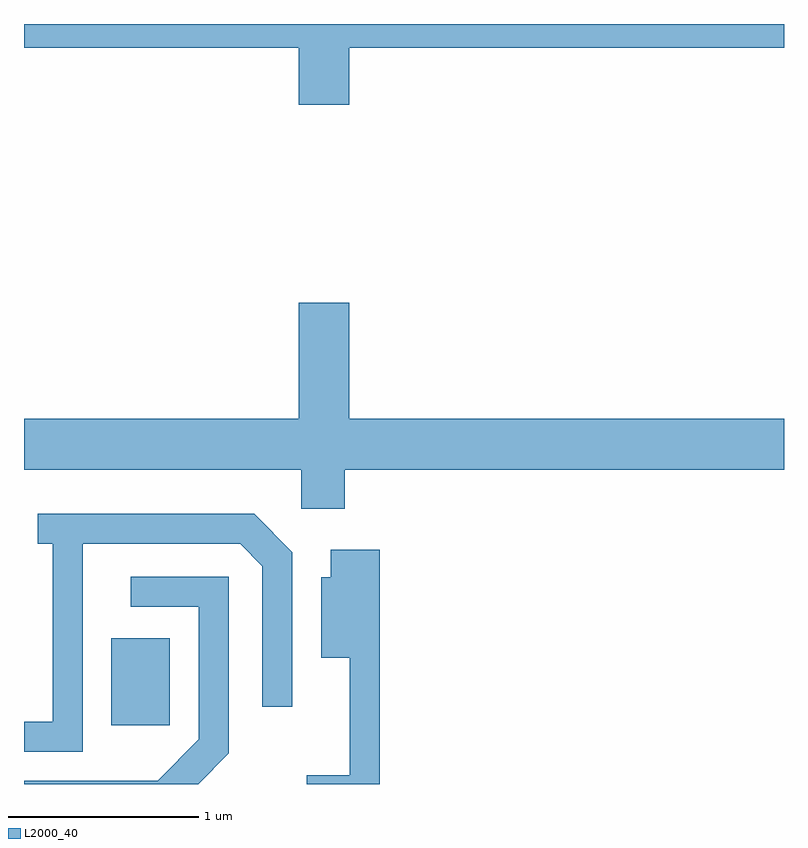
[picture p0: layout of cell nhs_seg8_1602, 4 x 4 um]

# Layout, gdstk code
import gdstk
lib = gdstk.Library(unit=1e-6, precision=1e-09)
def R(c, l, rs):  # rectangles x0, y0, x1, y1
    for r in rs: c.add(gdstk.rectangle(r[:2], r[2:], *l))
def P(c, l, *ps):  # polygons
    for p in ps: c.add(gdstk.Polygon(p, *l))
L2000_40 = (2000, 40)

nhs_seg8_1602 = lib.new_cell('nhs_seg8_1602')
R(nhs_seg8_1602, L2000_40, [(234.071,1810.651,234.379,1811.109)])
P(nhs_seg8_1602, L2000_40, [(235.324,1814.216),(237.611,1814.216),(237.611,1814.342),(233.611,1814.342),(233.611,1814.216),(235.056,1814.216),(235.056,1813.916),(235.324,1813.916)],
  [(235.299,1811.996),(237.611,1811.996),(237.611,1812.264),(235.324,1812.264),(235.324,1812.874),(235.056,1812.874),(235.056,1812.264),(233.611,1812.264),(233.611,1811.996),(235.071,1811.996),(235.071,1811.791),(235.299,1811.791)],
  [(233.919,1811.606),(234.749,1811.606),(234.866,1811.489),(234.866,1810.748),(235.024,1810.748),(235.024,1811.562),(234.822,1811.764),(233.683,1811.764),(233.683,1811.606),(233.761,1811.606),(233.761,1810.669),(233.611,1810.669),(233.611,1810.511),(233.919,1810.511)],
  [(235.484,1811.574),(235.226,1811.574),(235.226,1811.429),(235.176,1811.429),(235.176,1811.006),(235.326,1811.006),(235.326,1810.389),(235.098,1810.389),(235.098,1810.342),(235.484,1810.342)],
  [(234.689,1810.504),(234.689,1811.434),(234.173,1811.434),(234.173,1811.276),(234.531,1811.276),(234.531,1810.577),(234.314,1810.359),(233.611,1810.359),(233.611,1810.342),(234.528,1810.342)])

lib.write_gds('nhs_seg8_1602.gds')
